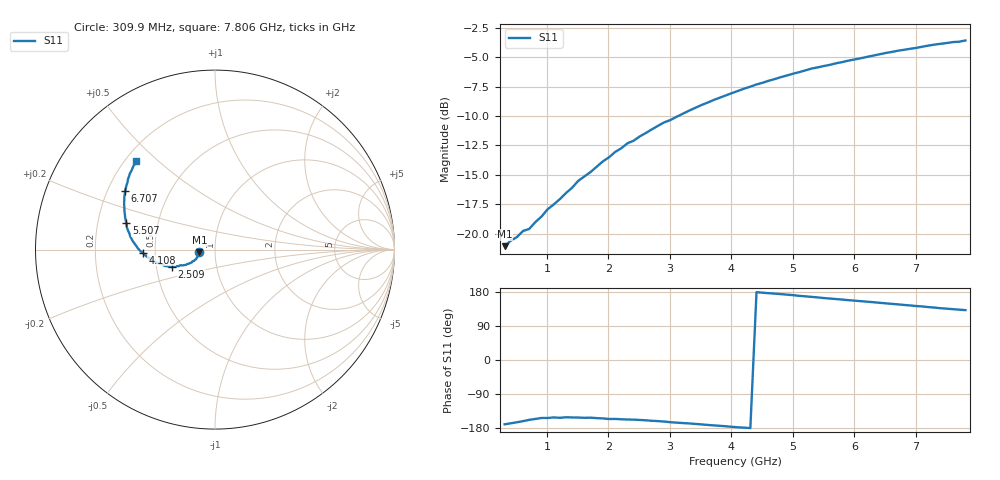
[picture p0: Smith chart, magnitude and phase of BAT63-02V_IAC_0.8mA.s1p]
! Infineon Technologies  Discrete & RF Semiconductors
! BAT63-02V
! IAC = 0.8 mA
! One-Port S-Parameters
# Hz  S  MA  R  50
!f  S11
!Hz  Mag  Ang
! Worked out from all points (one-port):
!   76 points, 309.9 MHz to 7.806 GHz, reference 50 ohm
!   lowest |S11| = -21.1 dB at 309.9 MHz (marker M1), VSWR 1.19, Z = 42 - j1.33 ohm
!   |S11| at or under -10 dB: start of sweep to 3.136 GHz
!   S11 on the Smith chart (normalised r, x): 309.9 MHz: 0.84, -0.03; 2.509 GHz: 0.60, -0.12; 4.108 GHz: 0.42, -0.02; 5.507 GHz: 0.33, +0.13; 6.707 GHz: 0.27, +0.28; 7.806 GHz: 0.24, +0.43
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3.0985e8  0.08846 -169.8
4.098e8  0.09336 -167.1
5.0975e8  0.09664 -164.4
6.097e8  0.1026 -161.4
7.0965e8  0.1047 -157.9
1.0095e9  0.1269 -153.0
1.30935e9  0.1488 -151.1
1.50925e9  0.1677 -151.9
1.70915e9  0.1828 -152.2
2.10895e9  0.2225 -155.5
2.2089e9  0.2305 -156.4
2.30885e9  0.242 -157.0
2.4088e9  0.2482 -157.4
2.50875e9  0.2588 -158.2
2.90855e9  0.2971 -162.4
3.2084e9  0.323 -166.4
3.50825e9  0.3514 -169.9
4.10795e9  0.4041 -177.6
4.30785e9  0.4211 -179.7
5.0075e9  0.4783 171.1
5.30735e9  0.5029 166.5
5.50725e9  0.5156 163.4
6.007e9  0.5498 156.6
6.70665e9  0.5984 146.9
6.90655e9  0.61 143.9
7.30635e9  0.6356 138.3
7.4063e9  0.6405 136.6
7.8061e9  0.6617 131.6
